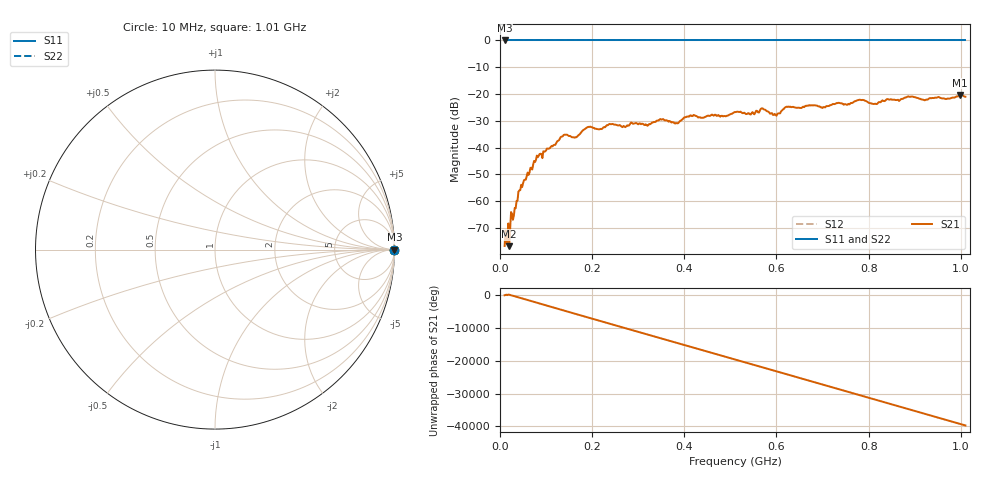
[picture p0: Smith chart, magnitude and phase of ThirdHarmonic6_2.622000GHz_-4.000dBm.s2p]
! 8/17/2025 5:48:23 AM
! C:\ANRITSUVNA\TEMP\TEMP.S2P
! CHANNEL.1
! TR.MEASUREMENT
! RAW.DATA
! RF.CORRECTION.OFF
! AVERAGING.OFF
! IF.BANDWIDTH: 5KHZ
! SWEEPTYPE:  FREQ.SWEEP(Linear)
! Reference Plane Port Info
! PORT:  PORT1  PORT2
! DISTANCE:  0  m  0  m
! TIME:  0  s  0  s
! PHASE.OFFSET:  0  deg.  0  deg.
! LOSS:  0  dB  0  dB
! REF.LOSS:  0  dB  0  dB
! REF.FREQ:  0  Hz  0  Hz
! Power Info
! POWER:  -20  dBm  -20  dBm
! EFF.POWER:  -20  dBm  -20  dBm
! SOURCE.ATTEN:  0  dB  0  dB
! TEST.ATTEN:  0  dB  0  dB
# GHZ S RI R 50.0
! FREQ.GHZ  S11RE  S11IM  S21RE  S21IM  S12RE  S12IM  S22RE  S22IM
!; PortSelection: Port_12
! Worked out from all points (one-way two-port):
!   501 points, 10 MHz to 1.01 GHz, reference 50 ohm
!   highest |S21| = -20.36 dB at 998 MHz (marker M1); lowest = -76.8 dB at 20 MHz (marker M2)
!   lowest |S11| = 0.0 dB at 10 MHz (marker M3)
!   |S11| at or under -10 dB: nowhere
!   |S22| runs from 0.0 to 0.0 dB; largest |S21 - S12| = 1.1
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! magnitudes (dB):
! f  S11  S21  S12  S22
! 10 MHz  0.0  -76.7  0.0  0.0
! 18 MHz  0.0  -68.3  0.0  0.0
! 20 MHz  0.0  -76.8  0.0  0.0
! 44 MHz  0.0  -55.8  0.0  0.0
! 84 MHz  0.0  -43.1  0.0  0.0
! 136 MHz  0.0  -35.8  0.0  0.0
! 164 MHz  0.0  -36.1  0.0  0.0
! 178 MHz  0.0  -33.9  0.0  0.0
! 192 MHz  0.0  -32.3  0.0  0.0
! 344 MHz  0.0  -29.8  0.0  0.0
! 382 MHz  0.0  -30.8  0.0  0.0
! 416 MHz  0.0  -28.2  0.0  0.0
! 510 MHz  0.0  -26.7  0.0  0.0
! 570 MHz  0.0  -25.3  0.0  0.0
! 596 MHz  0.0  -27.4  0.0  0.0
! 622 MHz  0.0  -24.7  0.0  0.0
! 678 MHz  0.0  -24.2  0.0  0.0
! 782 MHz  0.0  -22.2  0.0  0.0
! 814 MHz  0.0  -23.6  0.0  0.0
! 844 MHz  0.0  -22.0  0.0  0.0
! 998 MHz  0.0  -20.4  0.0  0.0
! 1.01 GHz  0.0  -21.0  0.0  0.0
